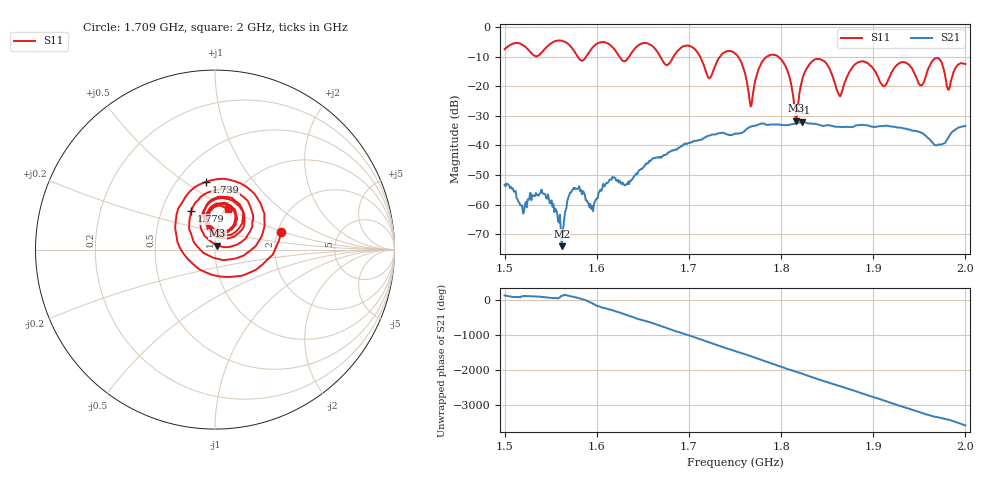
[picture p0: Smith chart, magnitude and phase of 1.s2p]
! NanoVNA-App by SYSJOINT et al v1.1.209 (+OD18)
! Date: 2026-01-21 14:16:38
! Start: 1,5GHz Stop: 2GHz Points: 501
! S-Parameter data: F S11 S21 S12 S22
# Hz S RI R 50
!  Frequency  S11_Real  S11_Imag  S21_Real  S21_Imag  S12_Real  S12_Imag  S22_Real  S22_Imag
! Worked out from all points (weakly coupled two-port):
!   501 points, 1.5 GHz to 2 GHz, reference 50 ohm
!   highest |S21| = -32.07 dB at 1.823 GHz (marker M1); lowest = -74.1 dB at 1.562 GHz (marker M2)
!   lowest |S11| = -31.6 dB at 1.816 GHz (marker M3), VSWR 1.05, Z = 51.4 + j2.29 ohm
!   |S11| at or under -10 dB: 1.712 GHz to 1.734 GHz (21.37 MHz wide, 1.24 % of centre); 1.753 GHz to 1.784 GHz (30.94 MHz wide, 1.75 % of centre); 1.797 GHz to end of sweep (the widest 3 of 6)
!   S12 and S22 are empty: the file has one direction only
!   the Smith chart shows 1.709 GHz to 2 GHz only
!   S11 on the Smith chart (normalised r, x): 1.709 GHz: 2.10, +0.47; 1.739 GHz: 0.69, +0.61; 1.779 GHz: 0.70, +0.32; 2 GHz: 1.03, +0.50
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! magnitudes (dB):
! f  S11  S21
! 1.5 GHz  -7.5  -53.3
! 1.542 GHz  -7.9  -56.4
! 1.562 GHz  -4.6  -74.1
! 1.571 GHz  -6.3  -55.9
! 1.584 GHz  -11.3  -56.5
! 1.667 GHz  -8.9  -43.9
! 1.709 GHz  -8.4  -38.4
! 1.722 GHz  -17.3  -36.6
! 1.739 GHz  -8.4  -35.9
! 1.75 GHz  -8.8  -36.0
! 1.767 GHz  -26.8  -33.6
! 1.779 GHz  -11.9  -32.5
! 1.802 GHz  -11.8  -33.1
! 1.816 GHz  -31.6  -32.6
! 1.823 GHz  -17.7  -32.1
! 1.834 GHz  -11.5  -32.7
! 1.863 GHz  -22.9  -33.7
! 1.885 GHz  -11.8  -33.1
! 1.917 GHz  -17.3  -33.4
! 1.969 GHz  -10.4  -39.9
! 1.982 GHz  -21.1  -37.2
! 2 GHz  -12.5  -33.4
